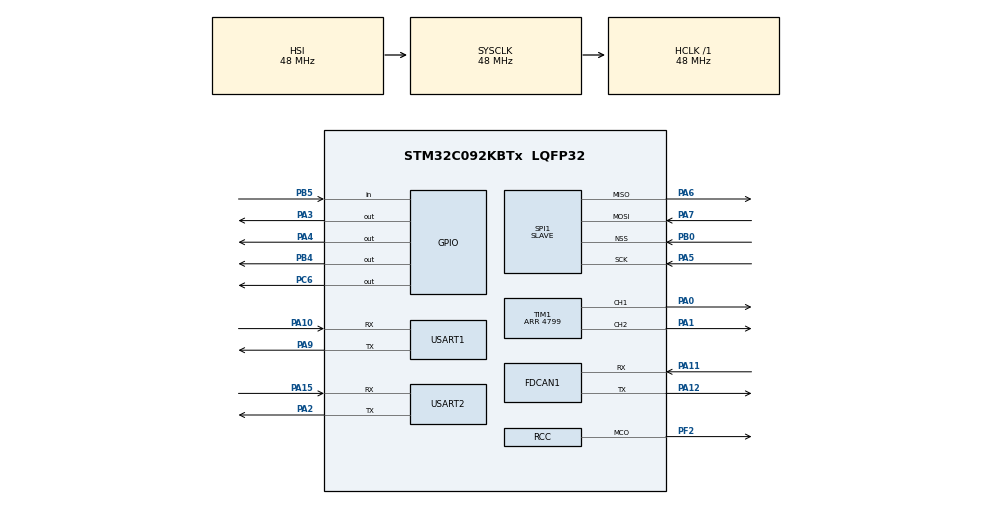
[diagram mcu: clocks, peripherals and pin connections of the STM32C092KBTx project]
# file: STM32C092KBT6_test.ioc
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FDCAN1.CalculateBaudRateNominal=1000000
FDCAN1.CalculateTimeBitNominal=1000
FDCAN1.CalculateTimeQuantumNominal=333.3333333333333
Mcu.Family=STM32C0
Mcu.Name=STM32C092KBTx
Mcu.Package=LQFP32
NVIC.TIM14_IRQn=true\:0\:0\:false\:false\:true\:true\:true\:true
NVIC.TIM1_BRK_UP_TRG_COM_IRQn=true\:0\:0\:false\:false\:true\:true\:true\:true
NVIC.TIM1_CC_IRQn=true\:0\:0\:false\:false\:true\:true\:true\:true
NVIC.USART2_IRQn=true\:0\:0\:false\:false\:true\:true\:true\:true
PA0.Signal=S_TIM1_CH1
PA1.Signal=S_TIM1_CH2
PA10.Mode=Asynchronous
PA10.Signal=USART1_RX
PA11\ [PA9].Mode=FDCAN_Activate
PA11\ [PA9].Signal=FDCAN1_RX
PA12\ [PA10].Mode=FDCAN_Activate
PA12\ [PA10].Signal=FDCAN1_TX
PA13.Mode=Serial_Wire
PA13.Signal=DEBUG_SWDIO
PA14-BOOT0.Mode=Serial_Wire
PA14-BOOT0.Signal=DEBUG_SWCLK
PA15.Mode=Asynchronous
PA15.Signal=USART2_RX
PA2.Mode=Asynchronous
PA2.Signal=USART2_TX
PA3.Signal=GPIO_Output
PA4.GPIO_PuPd=GPIO_NOPULL
PA4.GPIO_Speed=GPIO_SPEED_FREQ_VERY_HIGH
PA4.Signal=GPIO_Output
PA5.Mode=Full_Duplex_Slave
PA5.Signal=SPI1_SCK
PA6.Mode=Full_Duplex_Slave
PA6.Signal=SPI1_MISO
PA7.Mode=Full_Duplex_Slave
PA7.Signal=SPI1_MOSI
PA9.Mode=Asynchronous
PA9.Signal=USART1_TX
PB0.Mode=NSS_Signal_Hard_Input
PB0.Signal=SPI1_NSS
PB4.Signal=GPIO_Output
PB5.Signal=GPIO_Input
PC14-OSCX_IN(PC14).Mode=HSE-External-Oscillator
PC14-OSCX_IN(PC14).Signal=RCC_OSCX_IN
PC15-OSCX_OUT(PC15).Mode=HSE-External-Oscillator
PC15-OSCX_OUT(PC15).Signal=RCC_OSCX_OUT
PC6.Signal=GPIO_Output
PF2-NRST.Mode=Clock-out
PF2-NRST.Signal=RCC_MCO
ProjectManager.HeapSize=0x200
ProjectManager.StackSize=0x400
ProjectManager.TargetToolchain=CMake
RCC.ADCFreq_Value=48000000
RCC.AHBFreq_Value=48000000
RCC.CortexFreq_Value=48000000
RCC.EXTERNAL_CLOCK_VALUE=12288000
RCC.HCLKFreq_Value=48000000
RCC.HSE_VALUE=8000000
RCC.HSISYSCLKDivider=RCC_HSI_DIV1
RCC.HSI_VALUE=48000000
RCC.LSE_VALUE=32768
RCC.SYSCLKFreq_VALUE=48000000
SH.S_TIM1_CH1.0=TIM1_CH1,PWM Generation1 CH1
SH.S_TIM1_CH2.0=TIM1_CH2,PWM Generation2 CH2
SPI1.Direction=SPI_DIRECTION_2LINES
SPI1.Mode=SPI_MODE_SLAVE
SPI1.VirtualNSS=VM_NSSHARD
SPI1.VirtualType=VM_SLAVE
TIM1.Channel-PWM\ Generation1\ CH1=TIM_CHANNEL_1
TIM1.Channel-PWM\ Generation2\ CH2=TIM_CHANNEL_2
TIM1.Period=4799
TIM14.Period=999
TIM14.Prescaler=47
USART1.VirtualMode-Asynchronous=VM_ASYNC
USART2.VirtualMode-Asynchronous=VM_ASYNC
VP_DMAMUX_VS_DMAMUX.Mode=DMAMUX_Activate
VP_TIM14_VS_ClockSourceINT.Mode=Enable_Timer
VP_TIM1_VS_ClockSourceINT.Mode=Internal
board=custom

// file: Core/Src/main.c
/* USER CODE BEGIN Header */
/**
  ******************************************************************************
  * @file           : main.c
  * @brief          : Main program body
  ******************************************************************************
  * @attention
  *
  * Copyright (c) 2026 STMicroelectronics.
  * All rights reserved.
  *
  * This software is licensed under terms that can be found in the LICENSE file
  * in the root directory of this software component.
  * If no LICENSE file comes with this software, it is provided AS-IS.
  *
  ******************************************************************************
  */
/* USER CODE END Header */
#include "main.h"
#include "fdcan.h"
#include "spi.h"
#include "tim.h"
#include "usart.h"
#include "gpio.h"

/* USER CODE BEGIN Includes */
#include <stdio.h>
#include "SPM_Modbus.h"
/* USER CODE END Includes */

/* USER CODE BEGIN PTD */
#define servo_max 15
#define SERVO_DE_SETUP_DELAY_US 100U
/* USER CODE END PTD */

/* USER CODE BEGIN PV */
//デバイス定義
int16_t model_no = 51;
int16_t version = 1;
int16_t sub_version = 0;

//シリアルデータ
uint8_t recv_data;
uint8_t rx_buf[256];
uint8_t tx_buf[256];
volatile int16_t rx_len=0;

uint8_t rx3_buf[10];
uint8_t rx4_buf[10];
uint8_t tx3_buf[10];
uint8_t tx4_buf[10];

uint8_t rx_buf_len=0;
uint8_t r_mode = 0;		//�ǂݎ�胂�[�h�A0:pos,1:cur,2:temp
volatile uint16_t pos[servo_max];	//�T�[�{�|�W�V�������M�p
volatile uint16_t repos[servo_max];	//�T�[�{�|�W�V������M�p
uint16_t target_pos[servo_max];	//�T�[�{�|�W�V����
uint16_t pos_max[servo_max];	//�T�[�{�|�W�V����
uint16_t pos_min[servo_max];	//�T�[�{�|�W�V����
volatile uint8_t	cur[servo_max];	//�T�[�{�d��
volatile uint8_t	temp[servo_max];	//�T�[�{���x
volatile uint32_t servo_tx_busy_count = 0;
volatile uint32_t servo_tx_error_count = 0;
volatile uint32_t servo_rx_error_count = 0;
volatile uint32_t servo_rx_restart_error_count = 0;

//アプリケーション変数
int16_t dev_id=51; //デバイスID
//LEDのRGBデータ 1チャンネルで最大32個までのLEDを制御可能
//一つのLEDは8bit×24bitのデータが必要だが、レジスタは16bitなので、2つのレジスタに分けて格納する
// ledData[0] = LED1_R, LED1_G
// ledData[1] = LED1_B, LED2_R
// ledData[2] = LED2_G, LED2_B
// ...
int16_t enable_input = 0; //イネーブル信号入力

/* USER CODE END PV */

void SystemClock_Config(void);

int main(void)
{

  /* MCU Configuration--------------------------------------------------------*/

  /* Reset of all peripherals, Initializes the Flash interface and the Systick. */
  HAL_Init();

  /* Configure the system clock */
  SystemClock_Config();

  /* Initialize all configured peripherals */
  MX_GPIO_Init();
  MX_FDCAN1_Init();
  MX_USART1_UART_Init();
  MX_SPI1_Init();
  MX_USART2_UART_Init();
  //MX_DMAMUX_Init();
  MX_TIM14_Init();
  MX_TIM1_Init();
  /* USER CODE BEGIN 2 */

  //各レジスタ初期化
  SPM_ModbusInit();
  //レジスタ登録
  p_input_regs[0] = &model_no;   //モデルナンバー
  p_input_regs[1] = &version; //バージョン
  p_input_regs[2] = &sub_version; //サブバージョン

  //Cyclic Function登録
  // cycfunc0.rx_len = 2;
  // cycfunc0.rx_adr[0] = &io_in;
  // cycfunc0.rx_adr[1] = &io_out;
  // cycfunc0.tx_len = 1;
  // cycfunc0.tx_adr[0] = &io_out;

  ParamLoad();
  SPM_ModbusSetAddress(dev_id);

  HAL_UART_Receive_IT(&huart2, &recv_data, 1);

  HAL_GPIO_WritePin(GPIOB, GPIO_PIN_4, GPIO_PIN_RESET); // LED ON
  if (HAL_TIM_Base_Start_IT(&htim14) != HAL_OK)
  {
    Error_Handler();
  }
  pos[0] = 7500;

  //FDCAN1 filter configuration
  // FDCAN_FilterTypeDef sFilterConfig;
  // sFilterConfig.IdType = FDCAN_STANDARD_ID;
  // sFilterConfig.FilterIndex = 0;
  // sFilterConfig.FilterType = FDCAN_FILTER_MASK;
  // sFilterConfig.FilterConfig = FDCAN_FILTER_TO_RXFIFO0;
  // sFilterConfig.FilterID1 = 0x123; // Standard ID is configured as-is (no manual bit shift)
  // sFilterConfig.FilterID2 = 0x7FF; // Filter mask (accept all IDs)
  // if (HAL_FDCAN_ConfigFilter(&hfdcan1, &sFilterConfig) != HAL_OK)
  // {
  //   TxDataLength = sprintf((char*)TxData, "FDCAN Filter Configuration Error\r\n");
  //   HAL_UART_Transmit(&huart1, TxData, TxDataLength, HAL_MAX_DELAY);
  //   // Filter configuration Error
  //   Error_Handler();
  // }else{

  //   TxDataLength = sprintf((char*)TxData, "FDCAN Filter Configuration Success\r\n");
  //   HAL_UART_Transmit(&huart1, TxData, TxDataLength, HAL_MAX_DELAY);
  // }

  // // Start FDCAN module
  // if (HAL_FDCAN_Start(&hfdcan1) != HAL_OK)
  // {
  //   TxDataLength = sprintf((char*)TxData, "FDCAN Start Error\r\n");
  //   HAL_UART_Transmit(&huart1, TxData, TxDataLength, HAL_MAX_DELAY);
  //   // Start Error
  //   Error_Handler();
  // }else{
  //   TxDataLength = sprintf((char*)TxData, "FDCAN Start Success\r\n");
  //   HAL_UART_Transmit(&huart1, TxData, TxDataLength, HAL_MAX_DELAY);
  // }

  /* USER CODE END 2 */

  /* Infinite loop */
  /* USER CODE BEGIN WHILE */
  // uint32_t last_servo_update = HAL_GetTick();
  // uint32_t last_position_update = HAL_GetTick();
  // uint32_t last_led_toggle = HAL_GetTick();

  HAL_TIM_PWM_Start(&htim1, TIM_CHANNEL_1);
  HAL_TIM_PWM_Start(&htim1, TIM_CHANNEL_2);

  while (1)
  {
    // //FDCAN送信
    // FDCAN_TxHeaderTypeDef TxHeader = {0};
    // uint8_t CanTxData[8] = {0x01, 0x02, 0x03, 0x04, 0x05, 0x06, 0x07, counter++}; // 送信データ
    // TxHeader.Identifier = 0x143; // 送信するID
    // TxHeader.IdType = FDCAN_STANDARD_ID;
    // TxHeader.TxFrameType = FDCAN_DATA_FRAME;
    // TxHeader.DataLength = FDCAN_DLC_BYTES_8;
    // TxHeader.ErrorStateIndicator = FDCAN_ESI_ACTIVE;
    // TxHeader.BitRateSwitch = FDCAN_BRS_OFF;
    // TxHeader.FDFormat = FDCAN_CLASSIC_CAN;
    // TxHeader.TxEventFifoControl = FDCAN_NO_TX_EVENTS;
    // TxHeader.MessageMarker = 0;
    // if (HAL_FDCAN_AddMessageToTxFifoQ(&hfdcan1, &TxHeader, CanTxData) != HAL_OK)
    // {
    //   // Transmission request Error
    //   TxDataLength = sprintf((char*)TxData, "FDCAN Transmission Error\r\n");
    //   HAL_UART_Transmit(&huart1, TxData, TxDataLength, HAL_MAX_DELAY);
    //   Error_Handler();
    // }else{
    //   TxDataLength = sprintf((char*)TxData, "FDCAN Transmission Success\r\n");
    //   HAL_UART_Transmit(&huart1, TxData, TxDataLength, HAL_MAX_DELAY);
    // }

    //シリアル通信処理
		if(rx_len>0){
		  //HAL_GPIO_WritePin(GPIOA, GPIO_PIN_5, 1);
			HAL_Delay(10);
			int16_t tx_len = SPM_ModbusTask(rx_buf, rx_len, tx_buf);
			HAL_UART_Transmit(&huart2, tx_buf, tx_len, 100);
			rx_len=0;
			//HAL_GPIO_WritePin(GPIOA, GPIO_PIN_5, 0);
		}

    __HAL_TIM_SET_COMPARE(&htim1, TIM_CHANNEL_1, ((4799 * 60) / 100));
    __HAL_TIM_SET_COMPARE(&htim1, TIM_CHANNEL_2, 0);
    HAL_Delay(2000);

    __HAL_TIM_SET_COMPARE(&htim1, TIM_CHANNEL_1, 0);
    __HAL_TIM_SET_COMPARE(&htim1, TIM_CHANNEL_2, ((4799 * 60) / 100));
    HAL_Delay(2000);

    /* USER CODE END WHILE */

  }
}

void SystemClock_Config(void)
{
  RCC_OscInitTypeDef RCC_OscInitStruct = {0};
  RCC_ClkInitTypeDef RCC_ClkInitStruct = {0};

  __HAL_FLASH_SET_LATENCY(FLASH_LATENCY_1);

  /** Initializes the RCC Oscillators according to the specified parameters
  * in the RCC_OscInitTypeDef structure.
  */
  RCC_OscInitStruct.OscillatorType = RCC_OSCILLATORTYPE_HSI;
  RCC_OscInitStruct.HSIState = RCC_HSI_ON;
  RCC_OscInitStruct.HSIDiv = RCC_HSI_DIV1;
  RCC_OscInitStruct.HSICalibrationValue = RCC_HSICALIBRATION_DEFAULT;
  if (HAL_RCC_OscConfig(&RCC_OscInitStruct) != HAL_OK)
  {
    Error_Handler();
  }

  /** Initializes the CPU, AHB and APB buses clocks
  */
  RCC_ClkInitStruct.ClockType = RCC_CLOCKTYPE_HCLK|RCC_CLOCKTYPE_SYSCLK
                              |RCC_CLOCKTYPE_PCLK1;
  RCC_ClkInitStruct.SYSCLKSource = RCC_SYSCLKSOURCE_HSI;
  RCC_ClkInitStruct.SYSCLKDivider = RCC_SYSCLK_DIV1;
  RCC_ClkInitStruct.AHBCLKDivider = RCC_HCLK_DIV1;
  RCC_ClkInitStruct.APB1CLKDivider = RCC_APB1_DIV1;

  if (HAL_RCC_ClockConfig(&RCC_ClkInitStruct, FLASH_LATENCY_1) != HAL_OK)
  {
    Error_Handler();
  }
  HAL_RCC_MCOConfig(RCC_MCO1, RCC_MCO1SOURCE_SYSCLK, RCC_MCODIV_1);
}

/* USER CODE BEGIN 4 */
volatile int timer_1s = 0; // タイマーカウンタ
volatile int timer_10ms = 0; // タイマーカウンタ
volatile int led_state[4] = {0,0,0,0}; // タイマーカウンタ
void HAL_TIM_PeriodElapsedCallback(TIM_HandleTypeDef *htim)
{
    if(htim->Instance==TIM14)
    {
        timer_1s++;
        if(timer_1s>=1000)
        {
            timer_1s=0;
            HAL_GPIO_TogglePin(GPIOC, GPIO_PIN_6); // Toggle LED to indicate 1 second elapsed
        }
    }
}

void HAL_UART_RxCpltCallback(UART_HandleTypeDef *huart)
{
   if (huart->Instance == USART2)
   {
     if (rx_len < sizeof(rx_buf))
     {
       rx_buf[rx_len] = recv_data;
       rx_len++;
     }
     HAL_UART_Receive_IT(&huart2, &recv_data, 1);
   }
}

void HAL_UART_TxCpltCallback(UART_HandleTypeDef *UartHandle){
	// if( UartHandle->Instance == USART3 ){
	// 	HAL_GPIO_WritePin(GPIOA, GPIO_PIN_4, 0);
	// 	servo_restart_receive(&huart3, rx3_buf, sizeof(rx3_buf));
	// }
}

void HAL_UART_ErrorCallback(UART_HandleTypeDef *UartHandle)
{
	// if (UartHandle->Instance == USART3)
	// {
	// 	servo_rx_error_count++;
	// 	HAL_GPIO_WritePin(GPIOA, GPIO_PIN_4, GPIO_PIN_RESET);
	// 	servo_restart_receive(&huart3, rx3_buf, sizeof(rx3_buf));
	// }
	if (UartHandle->Instance == USART4)
	{
		servo_rx_error_count++;
		HAL_GPIO_WritePin(GPIOA, GPIO_PIN_3, GPIO_PIN_RESET);
	}
}
/* USER CODE END 4 */

void Error_Handler(void)
{
  /* USER CODE BEGIN Error_Handler_Debug */
  while(1)
  {
    HAL_GPIO_TogglePin(GPIOB, GPIO_PIN_4); // Toggle LED to indicate error
    HAL_Delay(100); // 0.1秒待機
  }
  /* User can add his own implementation to report the HAL error return state */
  __disable_irq();
  while (1)
  {
  }
  /* USER CODE END Error_Handler_Debug */
}
